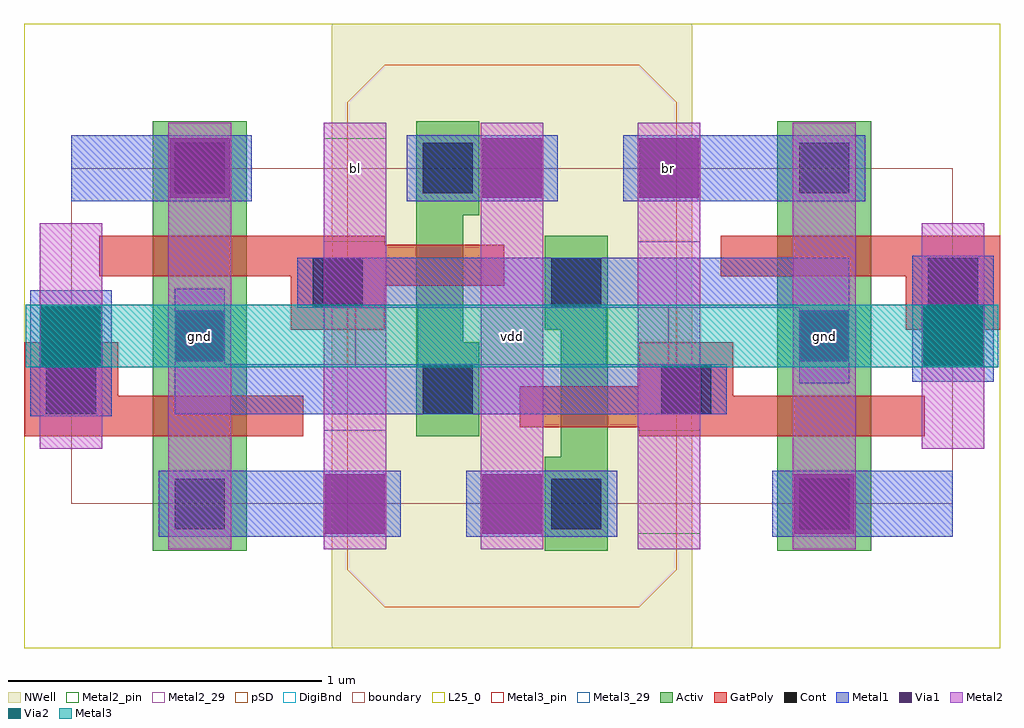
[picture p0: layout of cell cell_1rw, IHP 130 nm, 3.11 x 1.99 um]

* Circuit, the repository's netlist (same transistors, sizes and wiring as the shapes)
* ------------------------------------------------------
*
*		Copyright 2025 IHP PDK Authors
*
*		Licensed under the Apache License, Version 2.0 (the "License");
*		you may not use this file except in compliance with the License.
*		You may obtain a copy of the License at
*
*		   https://www.apache.org/licenses/LICENSE-2.0
*
*		Unless required by applicable law or agreed to in writing, software
*		distributed under the License is distributed on an "AS IS" BASIS,
*		WITHOUT WARRANTIES OR CONDITIONS OF ANY KIND, either express or implied.
*		See the License for the specific language governing permissions and
*		limitations under the License.
*
*		Generated on Thu Jul 30 11:38:32 2026
*
* ------------------------------------------------------

* Imported from RM_IHPSG13_1P_64x16_c2.cdl: RM_IHPSG13_64x16_c2_1P_BITKIT_CELL
* NW/PW require array taps. lvsres through-pins are joined.
.subckt cell_1rw bl br wl vdd gnd
XN0 NC NT gnd gnd sg13_lv_nmos w=300.0n l=130.00n m=1
XN1 NT NC gnd gnd sg13_lv_nmos w=300.0n l=130.00n m=1
XN3 NC wl br gnd sg13_lv_nmos w=300.0n l=130.00n m=1
XN2 bl wl NT gnd sg13_lv_nmos w=300.0n l=130.00n m=1
XP1 NT NC vdd vdd sg13_lv_pmos w=150.00n l=130.00n m=1
XP0 NC NT vdd vdd sg13_lv_pmos w=150.00n l=130.00n m=1
.ends cell_1rw

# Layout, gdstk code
import gdstk
lib = gdstk.Library(unit=1e-6, precision=1e-09)
def R(c, l, rs):  # rectangles x0, y0, x1, y1
    for r in rs: c.add(gdstk.rectangle(r[:2], r[2:], *l))
def A(c, l, x, y, w, h, nx, ny, dx, dy):  # array of equal rectangles
    R(c, l, [(x+i*dx, y+j*dy, x+i*dx+w, y+j*dy+h) for i in range(nx) for j in range(ny)])
def P(c, l, *ps):  # polygons
    for p in ps: c.add(gdstk.Polygon(p, *l))
Activ = (1, 0)
GatPoly = (5, 0)
Cont = (6, 0)
Metal1 = (8, 0)
Metal2 = (10, 0)
Metal2_pin = (10, 2)
Metal2_29 = (10, 29)
pSD = (14, 0)
DigiBnd = (16, 0)
Via1 = (19, 0)
L25_0 = (25, 0)
Via2 = (29, 0)
Metal3 = (30, 0)
Metal3_pin = (30, 2)
Metal3_29 = (30, 29)
NWell = (31, 0)
boundary = (189, 4)

cell_1rw = lib.new_cell('cell_1rw')
R(cell_1rw, Activ, [(0.26,-0.15,0.56,1.22), (2.25,-0.15,2.55,1.22)])
P(cell_1rw, Activ, [(1.51,-0.15),(1.51,0.15),(1.56,0.15),(1.56,0.555),(1.51,0.555),(1.51,0.855),(1.71,0.855),(1.71,-0.15)],
  [(1.1,0.215),(1.1,1.22),(1.3,1.22),(1.3,0.92),(1.25,0.92),(1.25,0.515),(1.3,0.515),(1.3,0.215)])
P(cell_1rw, GatPoly, [(-0.15,0.215),(-0.15,0.515),(0.15,0.515),(0.15,0.345),(0.74,0.345),(0.74,0.215)],
  [(1.81,0.215),(1.81,0.245),(1.43,0.245),(1.43,0.375),(1.81,0.375),(1.81,0.515),(2.11,0.515),(2.11,0.345),(2.72,0.345),(2.72,0.215)],
  [(0.7,0.555),(0.7,0.725),(0.09,0.725),(0.09,0.855),(1,0.855),(1,0.825),(1.38,0.825),(1.38,0.695),(1,0.695),(1,0.555)],
  [(2.66,0.555),(2.66,0.725),(2.07,0.725),(2.07,0.855),(2.96,0.855),(2.96,0.555)])
A(cell_1rw, Cont, 0.33, -0.08, 0.16, 0.16, 1, 3, 0, 0.535)
A(cell_1rw, Cont, 2.32, -0.08, 0.16, 0.16, 1, 3, 0, 0.535)
R(cell_1rw, Cont, [(1.53,-0.08,1.69,0.08), (-0.08,0.285,0.08,0.445), (1.12,0.285,1.28,0.445), (1.88,0.285,2.04,0.445), (0.77,0.625,0.93,0.785), (1.53,0.625,1.69,0.785), (2.73,0.625,2.89,0.785), (1.12,0.99,1.28,1.15)])
R(cell_1rw, Metal1, [(0.28,-0.105,1.05,0.105), (1.26,-0.105,1.74,0.105), (2.235,-0.105,2.81,0.105), (-0.13,0.28,0.13,0.68), (2.68,0.39,2.94,0.79), (0,0.965,0.575,1.175), (1.07,0.965,1.55,1.175), (1.76,0.965,2.53,1.175)])
P(cell_1rw, Metal1, [(0.33,0.285),(0.33,0.685),(0.49,0.685),(0.49,0.445),(2.09,0.445),(2.09,0.285)],
  [(2.32,0.385),(2.32,0.625),(0.72,0.625),(0.72,0.785),(2.48,0.785),(2.48,0.385)])
A(cell_1rw, Metal2, 0.805, -0.145, 0.2, 1.36, 3, 1, 0.5, 0)
R(cell_1rw, Metal2, [(0.31,-0.145,0.51,1.215), (2.3,-0.145,2.5,1.215), (-0.1,0.175,0.1,0.895), (2.71,0.175,2.91,0.895)])
A(cell_1rw, Metal2_pin, 0.31, -0.145, 0.2, 1.36, 3, 1, 0.995, 0)
R(cell_1rw, Metal2_pin, [(0.805,-0.095,1.005,0.235), (1.805,-0.095,2.005,0.235), (0.805,0.835,1.005,1.165), (1.805,0.835,2.005,1.165)])
R(cell_1rw, Metal2_29, [(0.805,0.235,1.005,0.835), (1.805,0.235,2.005,0.835)])
P(cell_1rw, pSD, [(1,-0.33),(0.88,-0.21),(0.88,1.28),(1,1.4),(1.81,1.4),(1.93,1.28),(1.93,-0.21),(1.81,-0.33)])
R(cell_1rw, DigiBnd, [(-0.15,-0.46,2.96,1.53)])
R(cell_1rw, Via1, [(0.81,-0.095,1,0.095), (1.31,-0.095,1.5,0.095), (2.305,-0.095,2.495,0.095), (-0.095,0.44,0.095,0.63), (2.715,0.44,2.905,0.63), (0.315,0.975,0.505,1.165), (1.31,0.975,1.5,1.165), (1.81,0.975,2,1.165)])
R(cell_1rw, L25_0, [(-0.15,-0.46,2.96,1.53)])
R(cell_1rw, Via2, [(-0.095,0.44,0.095,0.63), (2.715,0.44,2.905,0.63)])
R(cell_1rw, Metal3, [(-0.145,0.435,2.955,0.635)])
R(cell_1rw, Metal3_pin, [(-0.145,0.435,-0.095,0.635), (0.905,0.435,1.105,0.635), (1.705,0.435,1.905,0.635), (2.905,0.435,2.955,0.635)])
R(cell_1rw, Metal3_29, [(1.105,0.435,1.705,0.635)])
R(cell_1rw, NWell, [(0.83,-0.46,1.98,1.53)])
R(cell_1rw, boundary, [(0,0,2.81,1.07)])
cell_1rw.add(gdstk.Label('bl', (0.905,1.07), layer=10, texttype=25))
cell_1rw.add(gdstk.Label('br', (1.905,1.07), layer=10, texttype=25))
cell_1rw.add(gdstk.Label('vdd', (1.405,0.535), layer=10, texttype=25))
cell_1rw.add(gdstk.Label('gnd', (0.41,0.535), layer=10, texttype=25))
cell_1rw.add(gdstk.Label('gnd', (2.4,0.535), layer=10, texttype=25))
cell_1rw.add(gdstk.Label('NT', (0.41,0.535), layer=8, texttype=25))
cell_1rw.add(gdstk.Label('NC', (2.4,0.535), layer=8, texttype=25))
cell_1rw.add(gdstk.Label('wl', (1.405,0.535), layer=30, texttype=25))

lib.write_gds('cell_1rw.gds')
